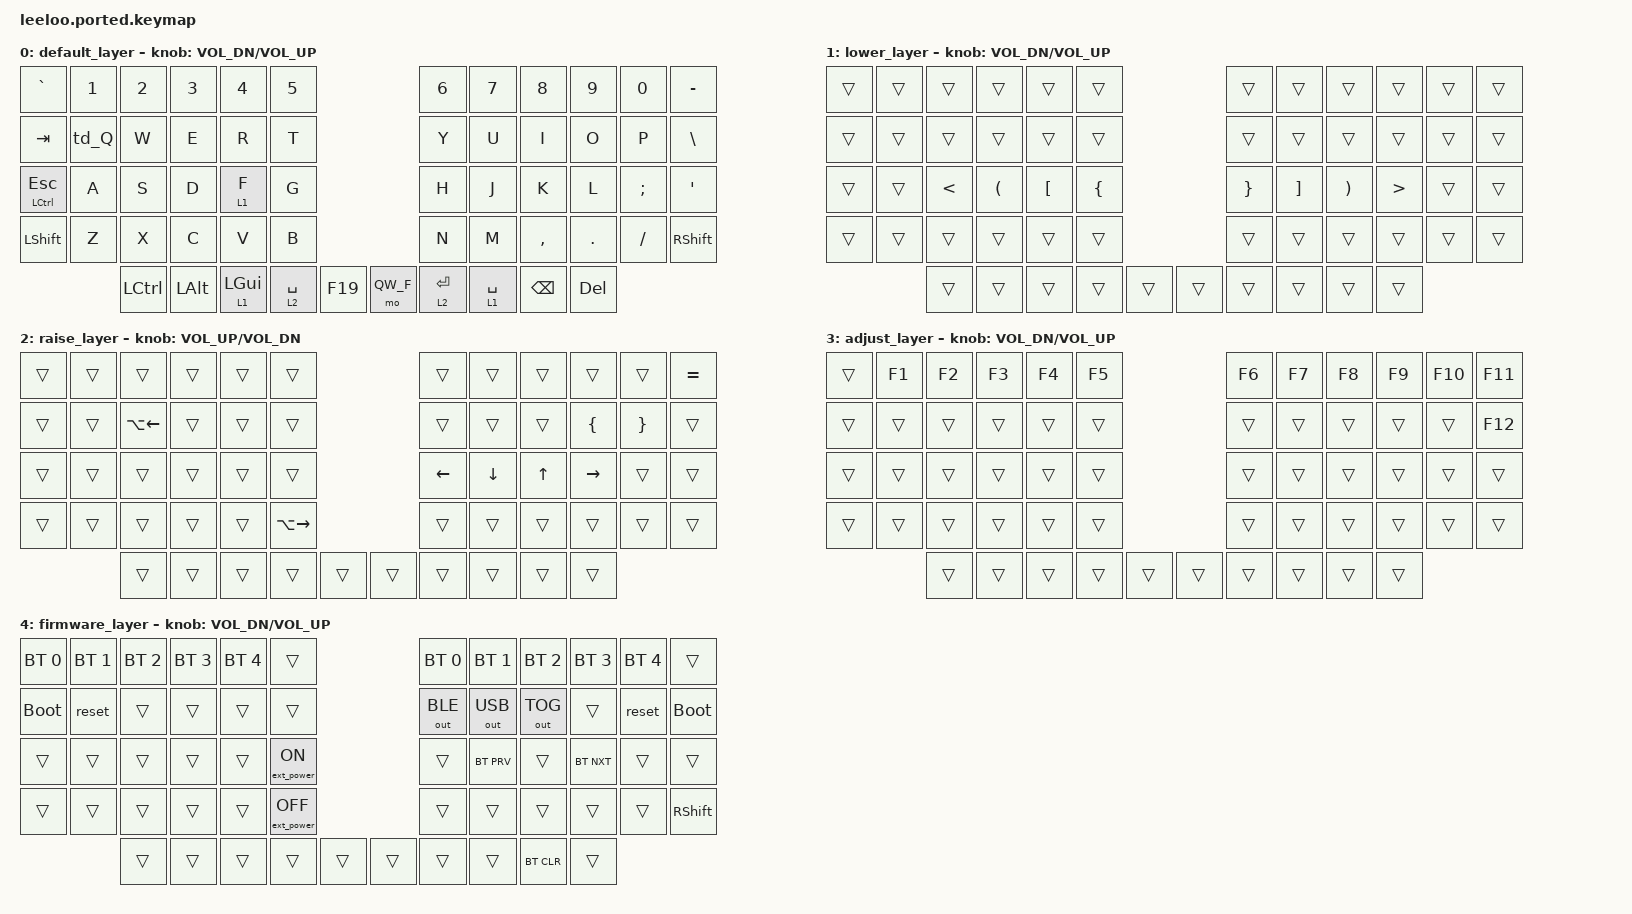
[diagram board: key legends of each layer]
/*
 * Copyright (c) 2020 The ZMK Contributors
 *
 * SPDX-License-Identifier: MIT
 */
#include <behaviors.dtsi>
#include <dt-bindings/zmk/outputs.h>
#include <dt-bindings/zmk/keys.h>
#include <dt-bindings/zmk/bt.h>
#include <dt-bindings/zmk/ext_power.h>

// Layers
#define QW_M    0       // Main
#define QW_L    1       // Lower
#define QW_R    2       // Raise
#define QW_A    3       // Adjust
#define QW_F    4       // Firmware

/ {
    conditional_layers {
        compatible = "zmk,conditional-layers";
        adjust_layer {
            if-layers = <1 2>;
            then-layer = <3>;
        };
    };

    behaviors {
        qm: qwerty_mods {
        compatible = "zmk,behavior-hold-tap";
        label = "QWERTY_MODS";
        #binding-cells = <2>;
        tapping-term-ms = <200>;
        quick_tap_ms = <0>;
        flavor = "tap-preferred";
        bindings = <&kp>, <&kp>;
        };

        td_Q: tap_dance_Q {
            compatible = "zmk,behavior-tap-dance";
            label = "TAP_DANCE_Q";
            #binding-cells = <0>;
            tapping-term-ms = <200>;
            bindings = <&kp Q>, <&kp LG(W)>, <&kp LG(Q)>;
        };

    };

    keymap {
        compatible = "zmk,keymap";

        default_layer {
            bindings = <
&kp GRAV      &kp N1     &kp N2     &kp N3     &kp N4     &kp N5                           &kp N6     &kp N7     &kp N8     &kp N9     &kp N0     &kp MINUS
&kp TAB       &td_Q      &kp W      &kp E      &kp R      &kp T                            &kp Y      &kp U      &kp I      &kp O      &kp P      &kp BSLH
&qm LCTRL ESC &kp A      &kp S      &kp D      &lt 1 F    &kp G                            &kp H      &kp J      &kp K      &kp L      &kp SEMI   &kp SQT
&kp LSHFT     &kp Z      &kp X      &kp C      &kp V      &kp B                            &kp N      &kp M      &kp COMMA  &kp DOT    &kp FSLH   &kp RSHFT
                    &kp LCTRL   &kp LALT  &lt 1 LGUI    &lt 2 SPACE  &kp F19   &mo QW_F  &lt 2 RET   &lt 1 SPACE  &kp BSPC   &kp DEL
            >;

            sensor-bindings = <&inc_dec_kp C_VOL_DN C_VOL_UP>;
        };

        lower_layer {
            bindings = <
&trans     &trans     &trans     &trans     &trans     &trans                           &trans     &trans     &trans     &trans     &trans     &trans
&trans     &trans     &trans     &trans     &trans     &trans                           &trans     &trans     &trans     &trans     &trans     &trans
&trans     &trans     &kp LT     &kp LPAR   &kp LBKT   &kp LBRC                         &kp RBRC   &kp RBKT   &kp RPAR   &kp GT     &trans     &trans
&trans     &trans     &trans     &trans     &trans     &trans                           &trans     &trans     &trans     &trans     &trans     &trans
                      &trans     &trans     &trans     &trans     &trans      &trans    &trans     &trans     &trans     &trans
            >;

            sensor-bindings = <&inc_dec_kp C_VOL_DN C_VOL_UP>;
        };

        raise_layer {
            bindings = <
&trans     &trans     &trans     &trans     &trans     &trans                           &trans     &trans     &trans     &trans     &trans     &kp EQUAL
&trans     &trans     &kp LA(LEFT) &trans   &trans     &trans                           &trans     &trans     &trans     &kp LBRC   &kp RBRC   &trans
&trans     &trans     &trans     &trans     &trans     &trans                           &kp LEFT   &kp DOWN   &kp UP     &kp RIGHT  &trans     &trans
&trans     &trans     &trans     &trans     &trans     &kp LA(RIGHT)                    &trans     &trans     &trans     &trans     &trans     &trans
                      &trans     &trans     &trans     &trans     &trans      &trans    &trans     &trans     &trans     &trans
            >;

            sensor-bindings = <&inc_dec_kp C_VOL_UP C_VOL_DN>;
        };

        adjust_layer {
            bindings = <
&trans     &kp F1     &kp F2     &kp F3     &kp F4     &kp F5                           &kp F6     &kp F7     &kp F8     &kp F9     &kp F10    &kp F11
&trans     &trans     &trans     &trans     &trans     &trans                           &trans     &trans     &trans     &trans     &trans     &kp F12
&trans     &trans     &trans     &trans     &trans     &trans                           &trans     &trans     &trans     &trans     &trans     &trans
&trans     &trans     &trans     &trans     &trans     &trans                           &trans     &trans     &trans     &trans     &trans     &trans
                      &trans     &trans     &trans     &trans     &trans      &trans    &trans     &trans     &trans     &trans
            >;

            sensor-bindings = <&inc_dec_kp C_VOL_DN C_VOL_UP>;
        };

        firmware_layer {
            bindings = <
&bt BT_SEL 0  &bt BT_SEL 1  &bt BT_SEL 2  &bt BT_SEL 3  &bt BT_SEL 4  &trans            &bt BT_SEL 0  &bt BT_SEL 1  &bt BT_SEL 2  &bt BT_SEL 3  &bt BT_SEL 4  &trans
&bootloader   &reset        &trans        &trans        &trans        &trans                           &out OUT_BLE &out OUT_USB &out OUT_TOG &trans     &reset     &bootloader
&trans        &trans        &trans        &trans        &trans        &ext_power EP_ON                 &trans       &bt BT_PRV   &trans       &bt BT_NXT &trans     &trans
&trans        &trans        &trans        &trans        &trans        &ext_power EP_OFF                &trans       &trans       &trans       &trans     &trans     &kp RSHFT
                            &trans        &trans        &trans        &trans     &trans      &trans    &trans       &trans       &bt BT_CLR   &trans
            >;

            sensor-bindings = <&inc_dec_kp C_VOL_DN C_VOL_UP>;
        };
    };
};
